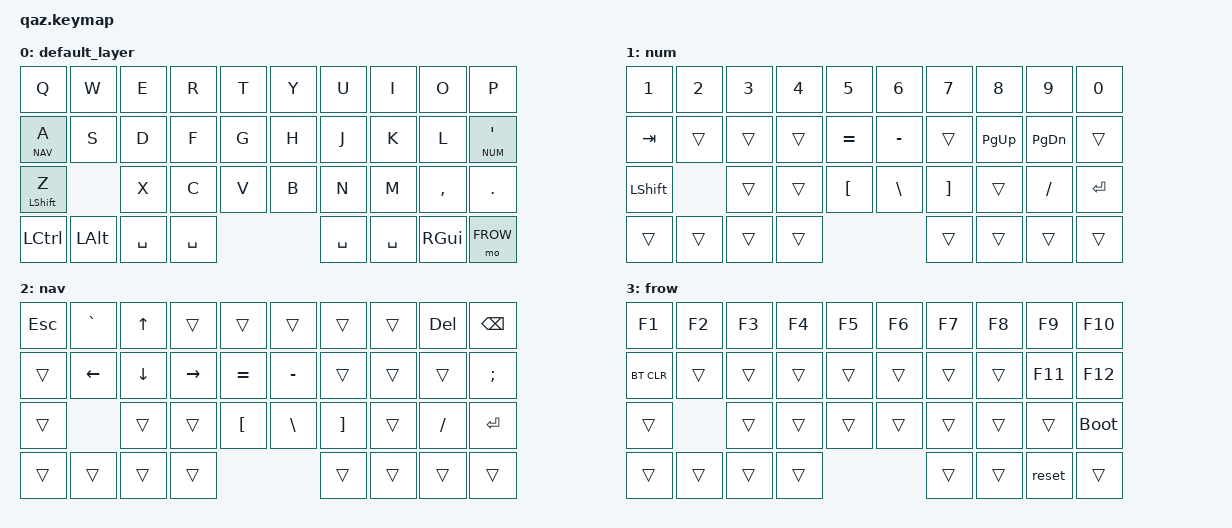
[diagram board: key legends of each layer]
/*
 * Copyright (c) 2020 The ZMK Contributors
 *
 * SPDX-License-Identifier: MIT
 */

#include <behaviors.dtsi>
#include <dt-bindings/zmk/keys.h>
#include <dt-bindings/zmk/bt.h>

#define DEFAULT 0
#define NUM     1
#define NAV     2
#define FROW    3

/ {
    behaviors {
        hm: homerow_mods {
            compatible = "zmk,behavior-hold-tap";
            label = "homerow mods";
            #binding-cells = <2>;
            tapping_term_ms = <200>;
            flavor = "tap-preferred";
            bindings = <&kp>, <&kp>;
        };
    };
};

/ {
    keymap {
        compatible = "zmk,keymap";

        default_layer {
            bindings = <
    &kp Q      &kp W      &kp E      &kp R      &kp T      &kp Y      &kp U      &kp I      &kp O      &kp P
    &lt NAV A  &kp S      &kp D      &kp F      &kp G      &kp H      &kp J      &kp K      &kp L      &lt NUM SQT
    &mt LSHFT Z           &kp X      &kp C      &kp V      &kp B      &kp N      &kp M      &kp COMMA  &kp DOT
    &kp LCTL   &kp LALT   &kp SPACE     &kp SPACE     &kp SPACE                  &kp SPACE  &kp RGUI   &mo FROW
            >;
        };
        num {
            bindings = <
    &kp N1     &kp N2     &kp N3     &kp N4     &kp N5     &kp N6     &kp N7     &kp N8     &kp N9     &kp N0
    &kp TAB    &trans     &trans     &trans     &kp EQUAL  &kp MINUS  &trans     &kp PG_UP  &kp PG_DN  &trans
    &kp LSHFT             &trans     &trans     &kp LBKT   &kp BSLH   &kp RBKT   &trans     &kp SLASH  &kp ENTER
    &trans     &trans     &trans        &trans        &trans                     &trans     &trans     &trans
            >;
        };
        nav {
            bindings = <
    &kp ESC    &kp GRAVE  &kp UP     &trans     &trans     &trans     &trans     &trans     &kp DEL    &kp BSPC
    &trans     &kp LEFT   &kp DOWN   &kp RIGHT  &kp EQUAL  &kp MINUS  &trans     &trans     &trans     &kp SEMI
    &trans                &trans     &trans     &kp LBKT   &kp BSLH   &kp RBKT   &trans     &kp SLASH  &kp ENTER
    &trans     &trans     &trans        &trans        &trans                     &trans     &trans     &trans
            >;
        };
        frow {
            bindings = <
    &kp F1     &kp F2     &kp F3     &kp F4     &kp F5     &kp F6     &kp F7     &kp F8     &kp F9     &kp F10
    &bt BT_CLR &trans     &trans     &trans     &trans     &trans     &trans     &trans     &kp F11    &kp F12
    &trans                &trans     &trans     &trans     &trans     &trans     &trans     &trans     &bootloader
    &trans     &trans     &trans        &trans        &trans                     &trans     &reset     &trans
            >;
        };
    };
};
